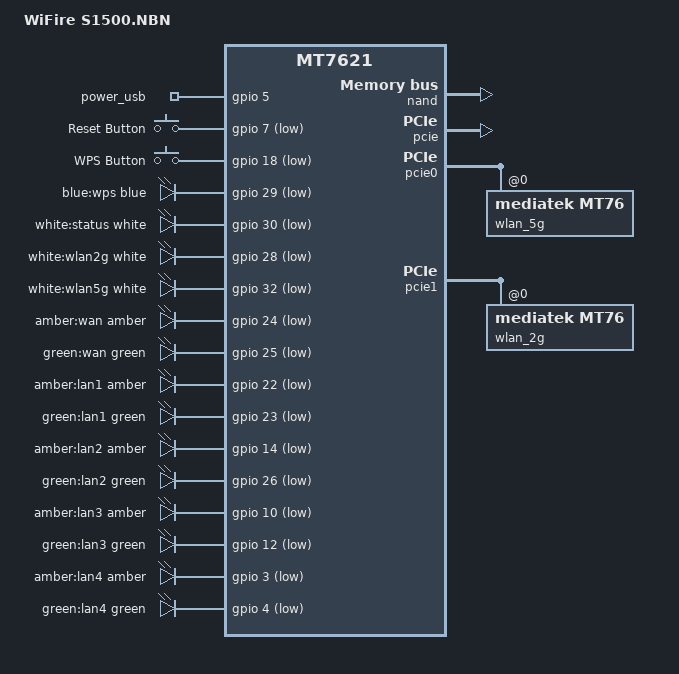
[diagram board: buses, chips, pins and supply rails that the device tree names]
// SPDX-License-Identifier: GPL-2.0-or-later

#include "mt7621.dtsi"

#include <dt-bindings/gpio/gpio.h>
#include <dt-bindings/input/input.h>
#include <dt-bindings/leds/common.h>

/ {
	compatible = "wifire,s1500-nbn", "mediatek,mt7621-soc";
	model = "WiFire S1500.NBN";

	aliases {
		led-boot = &led_status;
		led-running = &led_status;
		led-upgrade = &led_wps;
		led-failsafe = &led_wps;
		label-mac-device = &wan;
	};
		/*
	 * bootargs (/proc/cmdline) forced by u-boot Sercomm command:
	 * Slot Sercomm0
	 * console=ttyS1,57600 ubi.mtd=7 root=ubi0:rootfs rw rootfstype=ubifs
	 * Slot Sercomm1
	 * console=ttyS1,57600 ubi.mtd=8 root=ubi0:rootfs rw rootfstype=ubifs
	 * need a patch to lookup the block number of the root device in this bootarg
	 * chosen {
	 *	find-rootblock = "ubi.mtd=";
	 * };
	 */
	 
	gpio_export {
		compatible = "gpio-export";
		#size-cells = <0>;

		power_usb {
			gpio-export,name = "power_usb";
			gpio-export,output = <1>;
			gpios = <&gpio 5 GPIO_ACTIVE_HIGH>;
		};
	};

	keys {
		compatible = "gpio-keys";

		reset {
			label = "Reset Button";
			gpios = <&gpio 7 GPIO_ACTIVE_LOW>;
			linux,code = <KEY_RESTART>;
		};

		wps {
			label = "WPS Button";
			gpios = <&gpio 18 GPIO_ACTIVE_LOW>;
			linux,code = <KEY_WPS_BUTTON>;
		};
	};

	leds {
		compatible = "gpio-leds";

		led_wps: wps {
			label = "blue:wps";
			color = <LED_COLOR_ID_BLUE>;
			function = LED_FUNCTION_WPS;
			gpios = <&gpio 29 GPIO_ACTIVE_LOW>;
		};

		led_status: status {
			label = "white:status";
			color = <LED_COLOR_ID_WHITE>;
			function = LED_FUNCTION_STATUS;
			gpios = <&gpio 30 GPIO_ACTIVE_LOW>;
		};

		wlan2g {
			label = "white:wlan2g";
			color = <LED_COLOR_ID_WHITE>;
			// function = LED_FUNCTION_WLAN0;
			gpios = <&gpio 28 GPIO_ACTIVE_LOW>;
		};

		wlan5g {
			label = "white:wlan5g";
			color = <LED_COLOR_ID_WHITE>;
			// function = LED_FUNCTION_WLAN1;
			gpios = <&gpio 32 GPIO_ACTIVE_LOW>;
		};

		wan_speed {
			label = "amber:wan";
			color = <LED_COLOR_ID_AMBER>;
			gpios = <&gpio 24 GPIO_ACTIVE_LOW>;
		};

		wan_link_act {
			label = "green:wan";
			color = <LED_COLOR_ID_GREEN>;
			gpios = <&gpio 25 GPIO_ACTIVE_LOW>;
		};

		lan1_speed {
			label = "amber:lan1";
			color = <LED_COLOR_ID_AMBER>;
			gpios = <&gpio 22 GPIO_ACTIVE_LOW>;
		};

		lan1_link_act {
			label = "green:lan1";
			color = <LED_COLOR_ID_GREEN>;
			gpios = <&gpio 23 GPIO_ACTIVE_LOW>;
		};

		lan2_speed {
			label = "amber:lan2";
			color = <LED_COLOR_ID_AMBER>;
			gpios = <&gpio 14 GPIO_ACTIVE_LOW>;
		};

		lan2_link_act {
			label = "green:lan2";
			color = <LED_COLOR_ID_GREEN>;
			gpios = <&gpio 26 GPIO_ACTIVE_LOW>;
		};

		lan3_speed {
			label = "amber:lan3";
			color = <LED_COLOR_ID_AMBER>;
			gpios = <&gpio 10 GPIO_ACTIVE_LOW>;
		};

		lan3_link_act {
			label = "green:lan3";
			color = <LED_COLOR_ID_GREEN>;
			gpios = <&gpio 12 GPIO_ACTIVE_LOW>;
		};

		lan4_speed {
			label = "amber:lan4";
			color = <LED_COLOR_ID_AMBER>;
			gpios = <&gpio 3 GPIO_ACTIVE_LOW>;
		};

		lan4_link_act {
			label = "green:lan4";
			color = <LED_COLOR_ID_GREEN>;
			gpios = <&gpio 4 GPIO_ACTIVE_LOW>;
		};
	};

	ubi-concat {
		compatible = "mtd-concat";
		devices = <&ubiconcat0 &ubiconcat1 &ubiconcat2 &ubiconcat3>;

		partitions {
			compatible = "fixed-partitions";
			#address-cells = <1>;
			#size-cells = <1>;

			partition@0 { // 72192 KiB = 70,5 MiB
				label = "ubi";
				reg = <0x0 0x4680000>;
			};
		};
	};
};

&nand {
	status = "okay";

	partitions {
		compatible = "fixed-partitions";
		#address-cells = <1>;
		#size-cells = <1>;

		partition@0_all {
			label = "ALL";
			reg = <0x0 0x7f80000>;
			read-only;
		};

		partition@0 {
			label = "Bootloader";
			reg = <0x0 0x100000>;
			read-only;
		};

		factory: partition@100000 {
			label = "factory"; // RF-EEPROM
			reg = <0x100000 0x100000>;
			read-only;

			compatible = "nvmem-cells";
			#address-cells = <1>;
			#size-cells = <1>;

			macaddr_factory_1000: macaddr@1000 {
				reg = <0x1000 0x6>;
			};
		};

		ubiconcat1: partition@200000 {
			label = "sys_data";
			reg = <0x200000 0x1400000>;
		};

		partition@1600000 {
			label = "boot_flag";
			reg = <0x1600000 0x100000>;
		};

		partition@1700000 {
			label = "kernel"; // Kernel_1
			reg = <0x1700000 0x400000>;
		};

		partition@1b00000 {
			label = "Kernel_2";
			reg = <0x1b00000 0x400000>;
			read-only;
		};

		ubiconcat0: partition@1f00000 {
			label = "RootFS_1";
			reg = <0x1f00000 0x2e00000>;
		};

		partition@4d00000 {
			label = "RootFS_2";
			reg = <0x4d00000 0x2e00000>;
			read-only;
		};

		ubiconcat2: partition@7b00000 {
			label = "Ftool";
			reg = <0x7b00000 0x100000>;
		};

		ubiconcat3: partition@7c00000 {
			label = "BCT";
			reg = <0x7c00000 0x380000>;
		};

		/*
		 * 512 KiB for Reserved Bad Block
		 * 0x8000000-0x7f80000=0x80000
		 */

		partition@80000 { // U-boot Environment
			label = "BootLoad-Env";
			reg = <0x80000 0x20000>;
		};
	};
};

&ethernet {
	pinctrl-0 = <&mdio_pins>, <&rgmii1_pins>;
};

&gmac0 {
	mtd-mac-address = <&factory 0x1000>;
};

&pcie {
	status = "okay";
};

&pcie0 { // mt7612en
	wlan_5g: wifi@0,0 {
		compatible = "mediatek,mt76";
		reg = <0x0000 0 0 0 0>;
		ieee80211-freq-limit = <5000000 6000000>;
	mediatek,mtd-eeprom = <&factory 0x8000>;
	mtd-mac-address = <&factory 0x1000>;
		mtd-mac-address-increment = <1>;
	};
};

&pcie1 { // mt7602en
	wlan_2g: wifi@0,0 {
		compatible = "mediatek,mt76";
		reg = <0x0000 0 0 0 0>;
		ieee80211-freq-limit = <2400000 2500000>;
	mediatek,mtd-eeprom = <&factory 0x0>;
	mtd-mac-address = <&factory 0x1000>;
		mtd-mac-address-increment = <2>;
	};
};

&state_default {
	gpio {
		groups = "wdt", "uart3", "jtag", "uart2", "i2c", "rgmii2";
		function = "gpio";
	};
};

&switch0 {
	ports {
		port@0 {
			status = "okay";
			label = "lan4";
		};

		port@1 {
			status = "okay";
			label = "lan3";
		};

		port@2 {
			status = "okay";
			label = "lan2";
		};

		port@3 {
			status = "okay";
			label = "lan1";
		};

		wan: port@4 {
			status = "okay";
			label = "wan";
	mtd-mac-address = <&factory 0x1000>;
		};
	};
};
